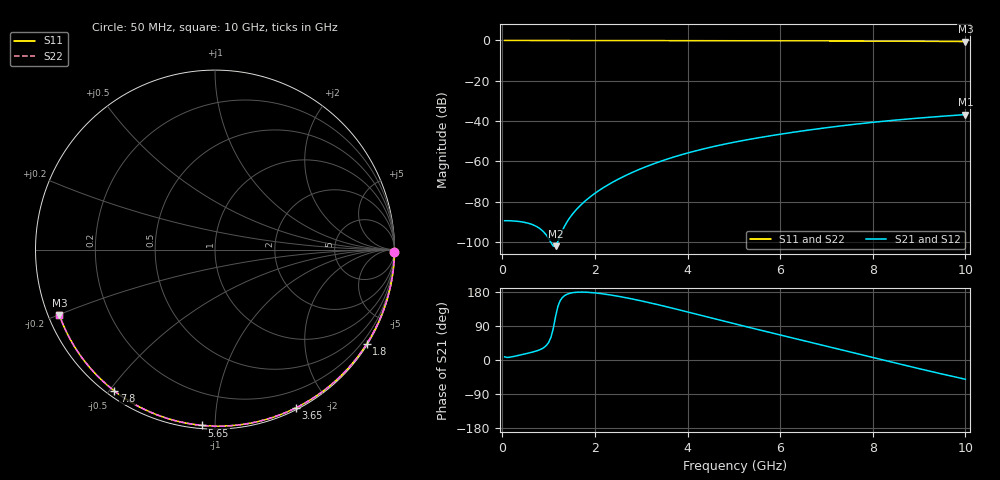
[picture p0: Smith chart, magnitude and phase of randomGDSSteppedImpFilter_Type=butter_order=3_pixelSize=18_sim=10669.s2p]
! freq	dB(S11)	phase(S11)	dB(S12)	phase(S12)
!  dB(S21)	phase(S21)	dB(S22)	phase(S22)
!S-par simulation data
#  GHz  S  DB  R 50
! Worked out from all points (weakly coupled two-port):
!   200 points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, 50 MHz to 10 GHz, reference 50 ohm
!   highest |S21| = -36.81 dB at 10 GHz (marker M1); lowest = -102.2 dB at 1.15 GHz (marker M2)
!   lowest |S11| = -0.5 dB at 10 GHz (marker M3), VSWR 32.70, Z = 1.59 - j10.1 ohm
!   |S11| at or under -10 dB: nowhere
!   |S22| runs from -0.5 to 0.0 dB; largest |S21 - S12| = 0
!   S11 on the Smith chart (normalised r, x): 50 MHz: open; 1.8 GHz: 0.03, -3.50; 3.65 GHz: 0.02, -1.63; 5.65 GHz: 0.02, -0.93; 7.8 GHz: 0.02, -0.52; 10 GHz: 0.03, -0.20
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0.05  -0.00 -0.9  -89.52 8.4  -89.52 8.4  -0.00 -0.9
0.6  -0.01 -10.8  -91.04 19.2  -91.04 19.2  -0.01 -10.8
1.15  -0.02 -20.5  -102.15 114.4  -102.15 114.4  -0.02 -20.5
1.75  -0.04 -31.0  -80.52 179.1  -80.52 179.1  -0.04 -31.0
1.8  -0.04 -31.9  -79.51 178.9  -79.51 178.9  -0.04 -31.9
1.95  -0.04 -34.5  -76.75 177.7  -76.75 177.7  -0.04 -34.5
2.1  -0.05 -37.1  -74.33 175.7  -74.33 175.7  -0.05 -37.1
2.3  -0.05 -40.5  -71.47 172.3  -71.47 172.3  -0.05 -40.5
2.5  -0.06 -43.9  -68.94 168.2  -68.94 168.2  -0.06 -43.9
2.95  -0.07 -51.5  -64.10 157.4  -64.10 157.4  -0.07 -51.5
3.4  -0.08 -58.9  -60.16 144.9  -60.16 144.9  -0.08 -58.9
3.65  -0.09 -63.0  -58.26 137.5  -58.26 137.5  -0.09 -63.0
4.3  -0.10 -73.4  -54.10 117.6  -54.10 117.6  -0.10 -73.4
5.05  -0.13 -85.1  -50.34 94.5  -50.34 94.5  -0.13 -85.1
5.65  -0.16 -94.2  -47.86 76.5  -47.86 76.5  -0.16 -94.2
6.15  -0.18 -101.6  -46.04 61.6  -46.04 61.6  -0.18 -101.6
6.7  -0.22 -109.6  -44.23 45.4  -44.23 45.4  -0.22 -109.7
7.25  -0.25 -117.6  -42.60 29.1  -42.60 29.1  -0.25 -117.6
7.8  -0.30 -125.4  -41.14 12.7  -41.14 12.7  -0.30 -125.4
8.35  -0.34 -133.3  -39.85 -3.7  -39.85 -3.7  -0.34 -133.3
9.2  -0.43 -145.4  -38.17 -28.6  -38.17 -28.6  -0.43 -145.4
10  -0.53 -157.1  -36.81 -50.8  -36.81 -50.8  -0.53 -157.1
